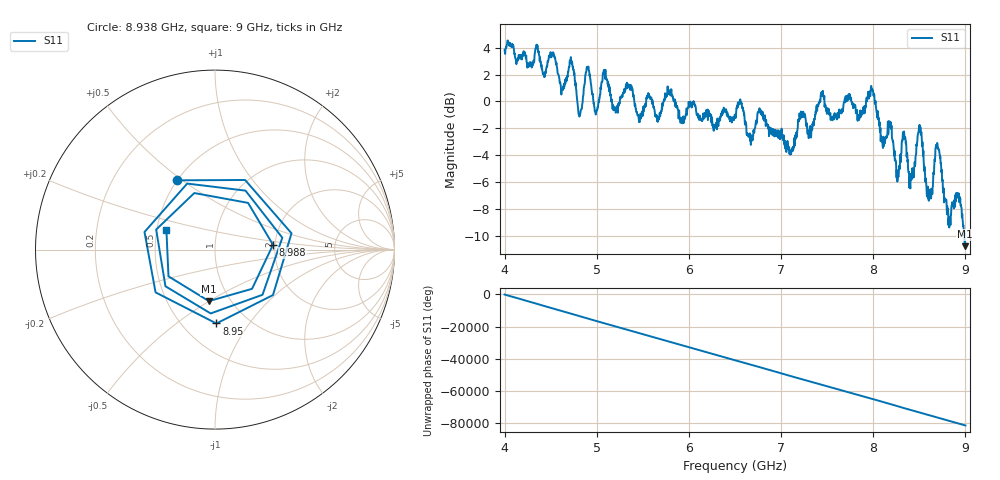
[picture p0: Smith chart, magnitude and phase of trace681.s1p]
! Created with skrf 1.8.0 (http://scikit-rf.org).
# Hz S RI R 50.0
!freq ReS11 ImS11
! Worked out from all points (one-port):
!   1601 points, 4 GHz to 9 GHz, reference 50 ohm
!   lowest |S11| = -10.8 dB at 8.994 GHz (marker M1), VSWR 1.81, Z = 39.8 - j24.9 ohm
!   |S11| at or under -10 dB: 8.988996 GHz to end of sweep
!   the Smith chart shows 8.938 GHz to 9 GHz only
!   S11 on the Smith chart (normalised r, x): 8.938 GHz: 0.50, +0.48; 8.95 GHz: 0.72, -0.71; 8.988 GHz: 1.95, +0.12; 9 GHz: 0.56, +0.13
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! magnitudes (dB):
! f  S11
! 4 GHz  3.8
! 4.522 GHz  3.6
! 4.625 GHz  0.9
! 4.722 GHz  3.1
! 4.816 GHz  -1.0
! 4.9 GHz  2.6
! 4.988 GHz  -1.0
! 5.088 GHz  2.3
! 5.25 GHz  0.0
! 5.875 GHz  -0.4
! 6.5 GHz  -1.0
! 7.125 GHz  -3.7
! 7.444 GHz  0.4
! 7.75 GHz  0.2
! 7.988 GHz  0.9
! 8.259 GHz  -5.6
! 8.334 GHz  -2.2
! 8.375 GHz  -4.4
! 8.416 GHz  -5.8
! 8.503 GHz  -1.7
! 8.603 GHz  -7.4
! 8.7 GHz  -3.4
! 8.819 GHz  -8.7
! 8.938 GHz  -7.1
! 8.95 GHz  -7.7
! 8.988 GHz  -9.8
! 8.994 GHz  -10.8
! 9 GHz  -10.7
